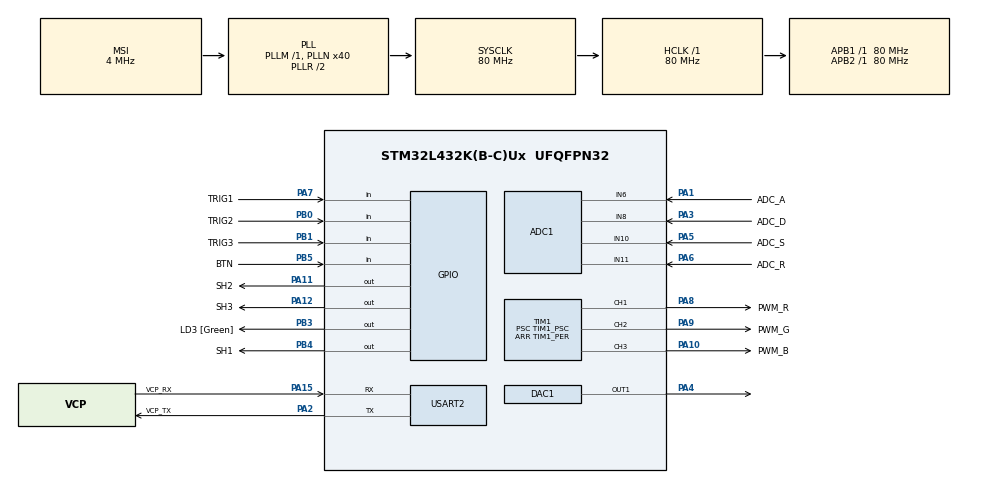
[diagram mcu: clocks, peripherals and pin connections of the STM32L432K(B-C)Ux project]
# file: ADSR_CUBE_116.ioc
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ADC1.Channel-0\#ChannelRegularConversion=ADC_CHANNEL_6
ADC1.Channel-1\#ChannelRegularConversion=ADC_CHANNEL_8
ADC1.Channel-2\#ChannelRegularConversion=ADC_CHANNEL_10
ADC1.Channel-3\#ChannelRegularConversion=ADC_CHANNEL_11
ADC1.ClockPrescaler=ADC_CLOCK_SYNC_PCLK_DIV1
ADC1.ContinuousConvMode=DISABLE
ADC1.DMAContinuousRequests=ENABLE
ADC1.EOCSelection=ADC_EOC_SEQ_CONV
ADC1.ExternalTrigConv=ADC_EXTERNALTRIG_T6_TRGO
ADC1.NbrOfConversion=4
ADC1.NbrOfConversionFlag=1
ADC1.OffsetNumber-0\#ChannelRegularConversion=ADC_OFFSET_NONE
ADC1.OffsetNumber-1\#ChannelRegularConversion=ADC_OFFSET_NONE
ADC1.OffsetNumber-2\#ChannelRegularConversion=ADC_OFFSET_NONE
ADC1.OffsetNumber-3\#ChannelRegularConversion=ADC_OFFSET_NONE
ADC1.Overrun=ADC_OVR_DATA_OVERWRITTEN
ADC1.Rank-0\#ChannelRegularConversion=1
ADC1.Rank-1\#ChannelRegularConversion=2
ADC1.Rank-2\#ChannelRegularConversion=3
ADC1.Rank-3\#ChannelRegularConversion=4
ADC1.SamplingTime-0\#ChannelRegularConversion=ADC_SAMPLETIME_6CYCLES_5
ADC1.SamplingTime-1\#ChannelRegularConversion=ADC_SAMPLETIME_6CYCLES_5
ADC1.SamplingTime-2\#ChannelRegularConversion=ADC_SAMPLETIME_6CYCLES_5
ADC1.SamplingTime-3\#ChannelRegularConversion=ADC_SAMPLETIME_6CYCLES_5
ADC1.master=1
Dma.ADC1.0.Direction=DMA_PERIPH_TO_MEMORY
Dma.ADC1.0.Instance=DMA1_Channel1
Dma.ADC1.0.MemDataAlignment=DMA_MDATAALIGN_HALFWORD
Dma.ADC1.0.MemInc=DMA_MINC_ENABLE
Dma.ADC1.0.Mode=DMA_CIRCULAR
Dma.ADC1.0.PeriphDataAlignment=DMA_PDATAALIGN_HALFWORD
Dma.ADC1.0.PeriphInc=DMA_PINC_DISABLE
Dma.ADC1.0.Priority=DMA_PRIORITY_MEDIUM
Dma.Request0=ADC1
Mcu.Family=STM32L4
Mcu.Name=STM32L432K(B-C)Ux
Mcu.Package=UFQFPN32
Mcu.UserConstants=TIM6_PSC,363;TIM6_PER,22;TIM1_PSC,4;TIM1_PER,8191;TIM7_PSC,79;SH_TIME,7
NVIC.DMA1_Channel1_IRQn=true\:0\:0\:false\:false\:true\:false\:true
NVIC.PriorityGroup=NVIC_PRIORITYGROUP_4
NVIC.TIM7_IRQn=true\:0\:0\:false\:false\:true\:true\:true
PA0.GPIO_Label=MCO [High speed clock in]
PA0.Mode=HSE-External-Clock-Source-for-LittleOrca
PA0.Signal=RCC_CK_IN
PA1.GPIO_Label=ADC_A
PA1.Signal=ADCx_IN6
PA10.GPIO_Label=PWM_B
PA10.GPIO_Speed=GPIO_SPEED_FREQ_HIGH
PA10.Signal=S_TIM1_CH3
PA11.GPIO_Label=SH2
PA11.Signal=GPIO_Output
PA12.GPIO_Label=SH3
PA12.Signal=GPIO_Output
PA13\ (JTMS-SWDIO).GPIO_Label=SWDIO
PA13\ (JTMS-SWDIO).Mode=Serial_Wire
PA13\ (JTMS-SWDIO).Signal=SYS_JTMS-SWDIO
PA14\ (JTCK-SWCLK).GPIO_Label=SWCLK
PA14\ (JTCK-SWCLK).Mode=Serial_Wire
PA14\ (JTCK-SWCLK).Signal=SYS_JTCK-SWCLK
PA15\ (JTDI).GPIO_Label=VCP_RX
PA15\ (JTDI).Mode=Asynchronous
PA15\ (JTDI).Signal=USART2_RX
PA2.GPIO_Label=VCP_TX
PA2.Mode=Asynchronous
PA2.Signal=USART2_TX
PA3.GPIO_Label=ADC_D
PA3.Signal=ADCx_IN8
PA4.Signal=COMP_DAC11_group
PA5.GPIO_Label=ADC_S
PA5.Signal=ADCx_IN10
PA6.GPIO_Label=ADC_R
PA6.Signal=ADCx_IN11
PA7.GPIO_Label=TRIG1
PA7.GPIO_PuPd=GPIO_PULLUP
PA7.Signal=GPIO_Input
PA8.GPIO_Label=PWM_R
PA8.GPIO_Speed=GPIO_SPEED_FREQ_HIGH
PA8.Signal=S_TIM1_CH1
PA9.GPIO_Label=PWM_G
PA9.GPIO_Speed=GPIO_SPEED_FREQ_HIGH
PA9.Signal=S_TIM1_CH2
PB0.GPIO_Label=TRIG2
PB0.GPIO_PuPd=GPIO_PULLUP
PB0.Signal=GPIO_Input
PB1.GPIO_Label=TRIG3
PB1.GPIO_PuPd=GPIO_PULLUP
PB1.Signal=GPIO_Input
PB3\ (JTDO-TRACESWO).GPIO_Label=LD3 [Green]
PB3\ (JTDO-TRACESWO).Signal=GPIO_Output
PB4\ (NJTRST).GPIO_Label=SH1
PB4\ (NJTRST).Signal=GPIO_Output
PB5.GPIO_Label=BTN
PB5.GPIO_PuPd=GPIO_PULLDOWN
PB5.Signal=GPIO_Input
PC14-OSC32_IN\ (PC14).Mode=LSE-External-Oscillator
PC14-OSC32_IN\ (PC14).Signal=RCC_OSC32_IN
PC15-OSC32_OUT\ (PC15).Mode=LSE-External-Oscillator
PC15-OSC32_OUT\ (PC15).Signal=RCC_OSC32_OUT
ProjectManager.HeapSize=0x200
ProjectManager.StackSize=0x400
ProjectManager.TargetToolchain=EWARM V8.32
RCC.ADCCLockSelection=RCC_ADCCLKSOURCE_SYSCLK
RCC.ADCFreq_Value=80000000
RCC.AHBFreq_Value=80000000
RCC.APB1Freq_Value=80000000
RCC.APB1TimFreq_Value=80000000
RCC.APB2Freq_Value=80000000
RCC.APB2TimFreq_Value=80000000
RCC.CortexFreq_Value=80000000
RCC.HCLKFreq_Value=80000000
RCC.HSE_VALUE=8000000
RCC.HSI16_VALUE=16000000
RCC.HSI48_VALUE=48000000
RCC.HSI_VALUE=16000000
RCC.MSI_VALUE=4000000
RCC.PLLMUL=RCC_PLLMUL_4
RCC.PLLN=40
RCC.PLLSAI1N=16
RCC.SYSCLKFreq_VALUE=80000000
RCC.SYSCLKSource=RCC_SYSCLKSOURCE_PLLCLK
RCC.USBFreq_Value=32000000
RCC.VCOOutputFreq_Value=160000000
SH.ADCx_IN10.0=ADC1_IN10,IN10-Single-Ended
SH.ADCx_IN11.0=ADC1_IN11,IN11-Single-Ended
SH.ADCx_IN6.0=ADC1_IN6,IN6-Single-Ended
SH.ADCx_IN8.0=ADC1_IN8,IN8-Single-Ended
SH.COMP_DAC11_group.0=DAC1_OUT1,DAC_OUT1
SH.S_TIM1_CH1.0=TIM1_CH1,PWM Generation1 CH1
SH.S_TIM1_CH2.0=TIM1_CH2,PWM Generation2 CH2
SH.S_TIM1_CH3.0=TIM1_CH3,PWM Generation3 CH3
TIM1.AutoReloadPreload=TIM_AUTORELOAD_PRELOAD_ENABLE
TIM1.Channel-PWM\ Generation1\ CH1=TIM_CHANNEL_1
TIM1.Channel-PWM\ Generation2\ CH2=TIM_CHANNEL_2
TIM1.Channel-PWM\ Generation3\ CH3=TIM_CHANNEL_3
TIM1.Period=TIM1_PER
TIM1.Prescaler=TIM1_PSC
TIM6.AutoReloadPreload=TIM_AUTORELOAD_PRELOAD_ENABLE
TIM6.Period=TIM6_PER
TIM6.Prescaler=TIM6_PSC
TIM6.TIM_MasterOutputTrigger=TIM_TRGO_UPDATE
TIM7.AutoReloadPreload=TIM_AUTORELOAD_PRELOAD_ENABLE
TIM7.Period=SH_TIME
TIM7.Prescaler=TIM7_PSC
TIM7.TIM_MasterOutputTrigger=TIM_TRGO_UPDATE
USART2.VirtualMode-Asynchronous=VM_ASYNC
VP_TIM6_VS_ClockSourceINT.Mode=Enable_Timer
VP_TIM7_VS_ClockSourceINT.Mode=Enable_Timer
board=NUCLEO-L432KC

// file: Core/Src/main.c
/* USER CODE BEGIN Header */
/**
  ******************************************************************************
  * @file           : main.c
  * @brief          : Main program body
  ******************************************************************************
  * @attention
  *
  * <h2><center>&copy; Copyright (c) 2021 STMicroelectronics.
  * All rights reserved.</center></h2>
  *
  * This software component is licensed by ST under BSD 3-Clause license,
  * the "License"; You may not use this file except in compliance with the
  * License. You may obtain a copy of the License at:
  *                        opensource.org/licenses/BSD-3-Clause
  *
  ******************************************************************************
  */
/* USER CODE END Header */
#include "main.h"

/* USER CODE BEGIN Includes */
#include <stdlib.h>

#include "envelope.h"
#include "btn.h"
#include "led_rgb.h"

/* USER CODE END Includes */

/* USER CODE BEGIN PD */

/* Definition of ADCx conversions data table size */
#define ADC_CONVERTED_DATA_BUFFER_SIZE   ((uint32_t)  4)   /* Size of array aADCxConvertedData[] */

/* For PWM */
#define  PULSE1_VALUE       (uint32_t)(TIM1_PER/2)
#define  PULSE2_VALUE       (uint32_t)(TIM1_PER/2)
#define  PULSE3_VALUE       (uint32_t)(TIM1_PER/2)

#define TOGGLE_COUNT   1000

#define BLINK_RATE     750

//#define SH_TIME (uint32_t)7 // give the dac 1us and the LF398 6us

#define GATE_HIGH GPIO_PIN_RESET
#define GATE_LOW  GPIO_PIN_SET

#define SEG_NO_CHANGE 0xFFFF
#define CHANGE_THRESH (ADC_FS / 8)

#define CATCH_THRESH  (ADC_FS / 64)

//#define TOGGLE ; // Debug toggle of LD3 on the nucleo
//#define SEEENVS ; // Debug make the leds flash like an envelope

/* USER CODE END PD */

ADC_HandleTypeDef hadc1;
DMA_HandleTypeDef hdma_adc1;

DAC_HandleTypeDef hdac1;

TIM_HandleTypeDef htim1;
TIM_HandleTypeDef htim6;
TIM_HandleTypeDef htim7;

UART_HandleTypeDef huart2;

/* USER CODE BEGIN PV */
/* Variable containing ADC conversions data */
static uint16_t   aADCxConvertedData[ADC_CONVERTED_DATA_BUFFER_SIZE];

static GPIO_PinState  trigger_pins[3];

//some of these could become flags for efficiency?
#ifdef TOGGLE
static uint16_t	  toggle;
#endif
static uint16_t	  tick, last_tick, btn_tick;
static uint16_t	  dac;
static uint16_t	  sh_timer;
static uint16_t	  i, j;
static uint16_t	  seg_change; // 0xFFFF means no param changed, otherwise 0 -> 3 map to ADSR
static enum curves new_seg;

static env_gen_t envelopes[NUM_ENVS];
static btn_t	 btn;
static led_rgb_t led;

/* USER CODE END PV */

void SystemClock_Config(void);
static void MX_GPIO_Init(void);
static void MX_DMA_Init(void);
static void MX_ADC1_Init(void);
static void MX_USART2_UART_Init(void);
static void MX_DAC1_Init(void);
static void MX_TIM6_Init(void);
static void MX_TIM1_Init(void);
static void MX_TIM7_Init(void);
/* USER CODE BEGIN PFP */

uint16_t catch_param(uint16_t old, uint16_t cur, uint16_t thresh);
/* USER CODE END PFP */

/* USER CODE BEGIN 0 */

uint16_t catch_param(uint16_t old, uint16_t cur, uint16_t thresh)
{
  return (abs(old - cur) < thresh) ? 1 : 0;
}

/* USER CODE END 0 */

int main(void)
{

  /* MCU Configuration--------------------------------------------------------*/

  /* Reset of all peripherals, Initializes the Flash interface and the Systick. */
  HAL_Init();

  /* Configure the system clock */
  SystemClock_Config();

  /* Initialize all configured peripherals */
  MX_GPIO_Init();
  MX_DMA_Init();
  MX_ADC1_Init();
  MX_USART2_UART_Init();
  MX_DAC1_Init();
  MX_TIM6_Init();
  MX_TIM1_Init();
  MX_TIM7_Init();
  /* USER CODE BEGIN 2 */

  if (HAL_DAC_Start(&hdac1, DAC_CHANNEL_1) != HAL_OK)
  {
    /* Start Error */
    Error_Handler();
  }

  if (HAL_ADC_Start_DMA(&hadc1,
                        (uint32_t *)aADCxConvertedData,
                        ADC_CONVERTED_DATA_BUFFER_SIZE
                       ) != HAL_OK)
  {
    /* Start Error */
    Error_Handler();
  }

  if (HAL_TIM_Base_Start(&htim6) != HAL_OK)
  {
    /* Start Error */
    Error_Handler();
  }

  /*## Start PWM signals generation #######################################*/
  /* Start channel 1 */
  if (HAL_TIM_PWM_Start(&htim1, TIM_CHANNEL_1) != HAL_OK)
  {
    /* PWM Generation Error */
    Error_Handler();
  }
  /* Start channel 2 */
  if (HAL_TIM_PWM_Start(&htim1, TIM_CHANNEL_2) != HAL_OK)
  {
    /* PWM Generation Error */
    Error_Handler();
  }
  /* Start channel 3 */
  if (HAL_TIM_PWM_Start(&htim1, TIM_CHANNEL_3) != HAL_OK)
  {
    /* PWM generation Error */
    Error_Handler();
  }

#ifdef TOGGLE
  toggle = 0;
#endif
  tick = 0;
  last_tick = 0;
  btn_tick = 1;
  dac = 0;
  sh_timer = 0;
  seg_change = SEG_NO_CHANGE;

  init_btn(&btn);
  init_led_rgb(&led, &htim1, TIM_CHANNEL_1, TIM_CHANNEL_2, TIM_CHANNEL_3);

  for (i = 0; i < NUM_ENVS; i++) {
    init_env(&envelopes[i]);
  }

  i = 0;

  /* USER CODE END 2 */

  /* Infinite loop */
  while (1)
  {

    /* USER CODE BEGIN 3 */

    if (tick != last_tick) {

#ifdef TOGGLE
      // take care of flashing the LD3 to show signs of life
      toggle++;
      if (toggle >= TOGGLE_COUNT) {
	HAL_GPIO_TogglePin(LD3_GPIO_Port, LD3_Pin);
	toggle = 0;
      }
#endif

      // Check the TRIG inputs
      trigger_pins[0] = HAL_GPIO_ReadPin(GPIOA, TRIG1_Pin);
      trigger_pins[1] = HAL_GPIO_ReadPin(GPIOB, TRIG2_Pin);
      trigger_pins[2] = HAL_GPIO_ReadPin(GPIOB, TRIG3_Pin);

      // Check the envelope pots
      // If we're doing a long press we shouldn't
      if (btn.click_state == LONG) {
	//don't do anything here - we're going to check if they're different below and
	//update segment shapes choices based on these numbers
	//Basically hold the button and move the pot of the parameter that you want to change shape
      } else {
	for (j = 0; j < 4; j++) {
	  if (seg_unlocked[j] || (seg_unlocked[j] = catch_param(envelopes[i].adsr[j], aADCxConvertedData[j], CATCH_THRESH))) {
	    envelopes[i].adsr[j] = aADCxConvertedData[j];
	  }
	}
      }

      // Process the envelopes
      process_env(&envelopes[0], (trigger_pins[0] == GATE_HIGH) ? 1 : 0, envelopes[2].end);
      process_env(&envelopes[1], (trigger_pins[1] == GATE_HIGH) ? 1 : 0, envelopes[0].end);
      process_env(&envelopes[2], (trigger_pins[2] == GATE_HIGH) ? 1 : 0, envelopes[1].end);

      // Step through the envs and set the DAC accordingly, give it 1uS to stablelize plus 6uS of Sample time
      if (HAL_DAC_SetValue(&hdac1, DAC_CHANNEL_1, DAC_ALIGN_12B_R, ENV_INV(&envelopes[0])) != HAL_OK)
      {
        /* Setting value Error */
        Error_Handler();
      }
      // Assume 6uS sampling time once DAC is stable
      HAL_GPIO_WritePin(SH1_GPIO_Port, SH1_Pin, GPIO_PIN_SET);
      __HAL_TIM_SET_AUTORELOAD(&htim7, SH_TIME);
      HAL_TIM_Base_Start_IT(&htim7);
      while (!sh_timer) {
	//spin on the timer
      }
      sh_timer = 0;
      HAL_GPIO_WritePin(SH1_GPIO_Port, SH1_Pin, GPIO_PIN_RESET);

      if (HAL_DAC_SetValue(&hdac1, DAC_CHANNEL_1, DAC_ALIGN_12B_R, ENV_INV(&envelopes[1])) != HAL_OK)
      {
        /* Setting value Error */
        Error_Handler();
      }
      HAL_GPIO_WritePin(SH2_GPIO_Port, SH2_Pin, GPIO_PIN_SET);
      __HAL_TIM_SET_AUTORELOAD(&htim7, SH_TIME);
      HAL_TIM_Base_Start_IT(&htim7);
      while (!sh_timer) {
	//spin on the timer
      }
      sh_timer = 0;
      HAL_GPIO_WritePin(SH2_GPIO_Port, SH2_Pin, GPIO_PIN_RESET);

      if (HAL_DAC_SetValue(&hdac1, DAC_CHANNEL_1, DAC_ALIGN_12B_R, ENV_INV(&envelopes[2])) != HAL_OK)
      {
        /* Setting value Error */
        Error_Handler();
      }
      HAL_GPIO_WritePin(SH3_GPIO_Port, SH3_Pin, GPIO_PIN_SET);
      __HAL_TIM_SET_AUTORELOAD(&htim7, SH_TIME);
      HAL_TIM_Base_Start_IT(&htim7);
      while (!sh_timer) {
	//spin on the timer
      }
      sh_timer = 0;
      HAL_GPIO_WritePin(SH3_GPIO_Port, SH3_Pin, GPIO_PIN_RESET);

      // Let's do the button and led every ten ticks which should give us ms resolution
      if ((btn_tick % BTN_TICK) == 0) {

	process_btn(&btn, (HAL_GPIO_ReadPin(BTN_GPIO_Port, BTN_Pin) == GPIO_PIN_SET) ? 1 : 0);

      	switch (btn.click_state) {
      	  case NONE:
	    seg_change = SEG_NO_CHANGE;
      	    break;
      	  case SINGLE:
	    //cycle through the envelopes
      	    i = (i + 1) % NUM_ENVS;
	    for (j = 0; j < 4; j++) {
	      seg_unlocked[j] = 0;
	    }
      	    break;
      	  case DOUBLE:
	    //double click toggles invert of current envelope
      	    envelopes[i].mode = (envelopes[i].mode + 1) % NUM_MODES;
      	    break;
	  case LONG:
	    //This is where I want to check the ADC channels and pick segment shapes based on each third of the range
	    //Might need to do something to stop doing continuous sampling or continuous update of the envelopes directly
	    //For now only allow adjustment of one segment per long press
	    if (seg_change == SEG_NO_CHANGE) {
	      for (j = 0; j < 4; j++) {
	        if (abs(envelopes[i].adsr[j] - aADCxConvertedData[j]) > CHANGE_THRESH) {
	          seg_change = j;
	        }
	      }
	      led.blink = 0xFF;
	      led.blink_duty = 0x00;
	    } else {

	      if (aADCxConvertedData[seg_change] < BTM_THRD) {
		new_seg = LIN;
	      } else if (aADCxConvertedData[seg_change] < MID_THRD) {
		new_seg = EXP;
	      } else {
		new_seg = LOG;
	      }

	      switch (seg_change) {
		case ATTACK:
		  envelopes[i].acurve = new_seg;
		  break;
		case DECAY:
		  envelopes[i].dcurve = new_seg;
		  break;
		case SUSTAIN:
		  //easter eggs
		  if (new_seg == LOG) {
		    envelopes[i].mode = BOUNCY;
		  } else {
		    envelopes[i].mode = ONESHOT;
		  }
		  break;
		case RELEASE:
		  envelopes[i].rcurve = new_seg;
		  break;
		default:
		  break;
	      }
	      led.blink = 0xFF;
	      led.blink_duty = 0xFF;
	    }
	    break;

      	  default:
      	    break;
      	}

	switch ((btn.click_state == LONG) ? new_seg : i) {
      	  case 0:
      	    led.r = ADC_FS;
      	    led.g = 0;
      	    led.b = TRIG_MODE(&envelopes[i]) ? ADC_FS : 0;
      	    break;
      	  case 1:
      	    led.r = TRIG_MODE(&envelopes[i]) ? ADC_FS : 0;
      	    led.g = ADC_FS;
      	    led.b = 0;
      	    break;
      	  case 2:
      	    led.r = 0;
      	    led.g = TRIG_MODE(&envelopes[i]) ? ADC_FS : 0;
      	    led.b = ADC_FS;
      	    break;
      	  default:
      	    led.r = ADC_FS;
      	    led.g = ADC_FS;
      	    led.b = ADC_FS;
      	}

	if (btn.click_state != LONG) {
	  switch (envelopes[i].mode) {
	    case ONESHOT:
	      led.blink = 0xFF;
	      led.blink_duty = 0xFF;
	      break;
	    case INV_ONESHOT:
	      led.blink = BLINK_RATE;
      	      led.blink_duty = 0.5 * led.blink;
	      break;
	    case TRIG:
	      led.blink = 0xFF;
	      led.blink_duty = 0xFF;
	      break;
	    case INV_TRIG:
	      led.blink = BLINK_RATE;
      	      led.blink_duty = 0.5 * led.blink;
	      break;
	    case LOOP:
	      led.blink = BLINK_RATE;
      	      led.blink_duty = 0.75 * led.blink;
	      break;
	    case INV_LOOP:
	      led.blink = BLINK_RATE;
      	      led.blink_duty = 0.25 * led.blink;
	      break;
	    case BOUNCY:
	      led.blink = 0xFF;
	      led.blink_duty = 0xFF;
	      led.r = envelopes[i].val;
      	      led.g = envelopes[i].val;
      	      led.b = envelopes[i].val;
	      break;
      	  }
	}

#ifdef SEEENVS
	/*
      	 * Testing - visualize the envs
      	 */
	if (GATE(&envelopes[0], (trigger_pins[0] == GATE_HIGH) ? 1 : 0) || \
	    GATE(&envelopes[1], (trigger_pins[1] == GATE_HIGH) ? 1 : 0) || \
	    GATE(&envelopes[2], (trigger_pins[2] == GATE_HIGH) ? 1 : 0)) {
	  led.r = ENV_INV(&envelopes[0]);
      	  led.g = ENV_INV(&envelopes[1]);
      	  led.b = ENV_INV(&envelopes[2]);
	}
#endif

      	process_led(&led);

	btn_tick = 1;
      } else {
	btn_tick++;
      }

      tick++;
      last_tick = tick;
    }
  }
  /* USER CODE END 3 */
}

void SystemClock_Config(void)
{
  RCC_OscInitTypeDef RCC_OscInitStruct = {0};
  RCC_ClkInitTypeDef RCC_ClkInitStruct = {0};
  RCC_PeriphCLKInitTypeDef PeriphClkInit = {0};

  /** Configure LSE Drive Capability
  */
  HAL_PWR_EnableBkUpAccess();
  __HAL_RCC_LSEDRIVE_CONFIG(RCC_LSEDRIVE_LOW);
  /** Initializes the RCC Oscillators according to the specified parameters
  * in the RCC_OscInitTypeDef structure.
  */
  RCC_OscInitStruct.OscillatorType = RCC_OSCILLATORTYPE_LSE|RCC_OSCILLATORTYPE_MSI;
  RCC_OscInitStruct.LSEState = RCC_LSE_ON;
  RCC_OscInitStruct.MSIState = RCC_MSI_ON;
  RCC_OscInitStruct.MSICalibrationValue = 0;
  RCC_OscInitStruct.MSIClockRange = RCC_MSIRANGE_6;
  RCC_OscInitStruct.PLL.PLLState = RCC_PLL_ON;
  RCC_OscInitStruct.PLL.PLLSource = RCC_PLLSOURCE_MSI;
  RCC_OscInitStruct.PLL.PLLM = 1;
  RCC_OscInitStruct.PLL.PLLN = 40;
  RCC_OscInitStruct.PLL.PLLP = RCC_PLLP_DIV7;
  RCC_OscInitStruct.PLL.PLLQ = RCC_PLLQ_DIV2;
  RCC_OscInitStruct.PLL.PLLR = RCC_PLLR_DIV2;
  if (HAL_RCC_OscConfig(&RCC_OscInitStruct) != HAL_OK)
  {
    Error_Handler();
  }
  /** Initializes the CPU, AHB and APB buses clocks
  */
  RCC_ClkInitStruct.ClockType = RCC_CLOCKTYPE_HCLK|RCC_CLOCKTYPE_SYSCLK
                              |RCC_CLOCKTYPE_PCLK1|RCC_CLOCKTYPE_PCLK2;
  RCC_ClkInitStruct.SYSCLKSource = RCC_SYSCLKSOURCE_PLLCLK;
  RCC_ClkInitStruct.AHBCLKDivider = RCC_SYSCLK_DIV1;
  RCC_ClkInitStruct.APB1CLKDivider = RCC_HCLK_DIV1;
  RCC_ClkInitStruct.APB2CLKDivider = RCC_HCLK_DIV1;

  if (HAL_RCC_ClockConfig(&RCC_ClkInitStruct, FLASH_LATENCY_4) != HAL_OK)
  {
    Error_Handler();
  }
  PeriphClkInit.PeriphClockSelection = RCC_PERIPHCLK_USART2|RCC_PERIPHCLK_ADC;
  PeriphClkInit.Usart2ClockSelection = RCC_USART2CLKSOURCE_PCLK1;
  PeriphClkInit.AdcClockSelection = RCC_ADCCLKSOURCE_SYSCLK;
  if (HAL_RCCEx_PeriphCLKConfig(&PeriphClkInit) != HAL_OK)
  {
    Error_Handler();
  }
  /** Configure the main internal regulator output voltage
  */
  if (HAL_PWREx_ControlVoltageScaling(PWR_REGULATOR_VOLTAGE_SCALE1) != HAL_OK)
  {
    Error_Handler();
  }
  /** Enable MSI Auto calibration
  */
  HAL_RCCEx_EnableMSIPLLMode();
}

static void MX_ADC1_Init(void)
{

  ADC_ChannelConfTypeDef sConfig = {0};

  /** Common config
  */
  hadc1.Instance = ADC1;
  hadc1.Init.ClockPrescaler = ADC_CLOCK_SYNC_PCLK_DIV1;
  hadc1.Init.Resolution = ADC_RESOLUTION_12B;
  hadc1.Init.DataAlign = ADC_DATAALIGN_RIGHT;
  hadc1.Init.ScanConvMode = ADC_SCAN_ENABLE;
  hadc1.Init.EOCSelection = ADC_EOC_SEQ_CONV;
  hadc1.Init.LowPowerAutoWait = DISABLE;
  hadc1.Init.ContinuousConvMode = DISABLE;
  hadc1.Init.NbrOfConversion = 4;
  hadc1.Init.DiscontinuousConvMode = DISABLE;
  hadc1.Init.ExternalTrigConv = ADC_EXTERNALTRIG_T6_TRGO;
  hadc1.Init.ExternalTrigConvEdge = ADC_EXTERNALTRIGCONVEDGE_RISING;
  hadc1.Init.DMAContinuousRequests = ENABLE;
  hadc1.Init.Overrun = ADC_OVR_DATA_OVERWRITTEN;
  hadc1.Init.OversamplingMode = DISABLE;
  if (HAL_ADC_Init(&hadc1) != HAL_OK)
  {
    Error_Handler();
  }
  /** Configure Regular Channel
  */
  sConfig.Channel = ADC_CHANNEL_6;
  sConfig.Rank = ADC_REGULAR_RANK_1;
  sConfig.SamplingTime = ADC_SAMPLETIME_6CYCLES_5;
  sConfig.SingleDiff = ADC_SINGLE_ENDED;
  sConfig.OffsetNumber = ADC_OFFSET_NONE;
  sConfig.Offset = 0;
  if (HAL_ADC_ConfigChannel(&hadc1, &sConfig) != HAL_OK)
  {
    Error_Handler();
  }
  /** Configure Regular Channel
  */
  sConfig.Channel = ADC_CHANNEL_8;
  sConfig.Rank = ADC_REGULAR_RANK_2;
  if (HAL_ADC_ConfigChannel(&hadc1, &sConfig) != HAL_OK)
  {
    Error_Handler();
  }
  /** Configure Regular Channel
  */
  sConfig.Channel = ADC_CHANNEL_10;
  sConfig.Rank = ADC_REGULAR_RANK_3;
  if (HAL_ADC_ConfigChannel(&hadc1, &sConfig) != HAL_OK)
  {
    Error_Handler();
  }
  /** Configure Regular Channel
  */
  sConfig.Channel = ADC_CHANNEL_11;
  sConfig.Rank = ADC_REGULAR_RANK_4;
  if (HAL_ADC_ConfigChannel(&hadc1, &sConfig) != HAL_OK)
  {
    Error_Handler();
  }
  /* USER CODE BEGIN ADC1_Init 2 */

  if (HAL_ADCEx_Calibration_Start(&hadc1, ADC_SINGLE_ENDED) !=  HAL_OK)
  {
    Error_Handler();
  }

  /* USER CODE END ADC1_Init 2 */

}

static void MX_DAC1_Init(void)
{

  DAC_ChannelConfTypeDef sConfig = {0};

  /** DAC Initialization
  */
  hdac1.Instance = DAC1;
  if (HAL_DAC_Init(&hdac1) != HAL_OK)
  {
    Error_Handler();
  }
  /** DAC channel OUT1 config
  */
  sConfig.DAC_SampleAndHold = DAC_SAMPLEANDHOLD_DISABLE;
  sConfig.DAC_Trigger = DAC_TRIGGER_NONE;
  sConfig.DAC_OutputBuffer = DAC_OUTPUTBUFFER_ENABLE;
  sConfig.DAC_ConnectOnChipPeripheral = DAC_CHIPCONNECT_DISABLE;
  sConfig.DAC_UserTrimming = DAC_TRIMMING_FACTORY;
  if (HAL_DAC_ConfigChannel(&hdac1, &sConfig, DAC_CHANNEL_1) != HAL_OK)
  {
    Error_Handler();
  }

}

static void MX_TIM1_Init(void)
{

  TIM_MasterConfigTypeDef sMasterConfig = {0};
  TIM_OC_InitTypeDef sConfigOC = {0};
  TIM_BreakDeadTimeConfigTypeDef sBreakDeadTimeConfig = {0};

  htim1.Instance = TIM1;
  htim1.Init.Prescaler = TIM1_PSC;
  htim1.Init.CounterMode = TIM_COUNTERMODE_UP;
  htim1.Init.Period = TIM1_PER;
  htim1.Init.ClockDivision = TIM_CLOCKDIVISION_DIV1;
  htim1.Init.RepetitionCounter = 0;
  htim1.Init.AutoReloadPreload = TIM_AUTORELOAD_PRELOAD_ENABLE;
  if (HAL_TIM_PWM_Init(&htim1) != HAL_OK)
  {
    Error_Handler();
  }
  sMasterConfig.MasterOutputTrigger = TIM_TRGO_RESET;
  sMasterConfig.MasterOutputTrigger2 = TIM_TRGO2_RESET;
  sMasterConfig.MasterSlaveMode = TIM_MASTERSLAVEMODE_DISABLE;
  if (HAL_TIMEx_MasterConfigSynchronization(&htim1, &sMasterConfig) != HAL_OK)
  {
    Error_Handler();
  }
  sConfigOC.OCMode = TIM_OCMODE_PWM1;
  sConfigOC.Pulse = 0;
  sConfigOC.OCPolarity = TIM_OCPOLARITY_HIGH;
  sConfigOC.OCNPolarity = TIM_OCNPOLARITY_HIGH;
  sConfigOC.OCFastMode = TIM_OCFAST_DISABLE;
  sConfigOC.OCIdleState = TIM_OCIDLESTATE_RESET;
  sConfigOC.OCNIdleState = TIM_OCNIDLESTATE_RESET;
  if (HAL_TIM_PWM_ConfigChannel(&htim1, &sConfigOC, TIM_CHANNEL_1) != HAL_OK)
  {
    Error_Handler();
  }
  if (HAL_TIM_PWM_ConfigChannel(&htim1, &sConfigOC, TIM_CHANNEL_2) != HAL_OK)
  {
    Error_Handler();
  }
  if (HAL_TIM_PWM_ConfigChannel(&htim1, &sConfigOC, TIM_CHANNEL_3) != HAL_OK)
  {
    Error_Handler();
  }
  sBreakDeadTimeConfig.OffStateRunMode = TIM_OSSR_DISABLE;
  sBreakDeadTimeConfig.OffStateIDLEMode = TIM_OSSI_DISABLE;
  sBreakDeadTimeConfig.LockLevel = TIM_LOCKLEVEL_OFF;
  sBreakDeadTimeConfig.DeadTime = 0;
  sBreakDeadTimeConfig.BreakState = TIM_BREAK_DISABLE;
  sBreakDeadTimeConfig.BreakPolarity = TIM_BREAKPOLARITY_HIGH;
  sBreakDeadTimeConfig.BreakFilter = 0;
  sBreakDeadTimeConfig.Break2State = TIM_BREAK2_DISABLE;
  sBreakDeadTimeConfig.Break2Polarity = TIM_BREAK2POLARITY_HIGH;
  sBreakDeadTimeConfig.Break2Filter = 0;
  sBreakDeadTimeConfig.AutomaticOutput = TIM_AUTOMATICOUTPUT_DISABLE;
  if (HAL_TIMEx_ConfigBreakDeadTime(&htim1, &sBreakDeadTimeConfig) != HAL_OK)
  {
    Error_Handler();
  }
  HAL_TIM_MspPostInit(&htim1);

}

static void MX_TIM6_Init(void)
{

  /* USER CODE BEGIN TIM6_Init 0 */

   /* TIM6 is clocked by APB1 Timer clocks, currently configured at 80MHz
    * With the Prescaler set to 363 the counter clock should be running at something like 220.385k
    * Divide that by 22 and we're around 10kHz for the triggers
    * See TIM6_PSC and TIM6_PER in main.h
    */

  /* USER CODE END TIM6_Init 0 */

  TIM_MasterConfigTypeDef sMasterConfig = {0};

  htim6.Instance = TIM6;
  htim6.Init.Prescaler = TIM6_PSC;
  htim6.Init.CounterMode = TIM_COUNTERMODE_UP;
  htim6.Init.Period = TIM6_PER;
  htim6.Init.AutoReloadPreload = TIM_AUTORELOAD_PRELOAD_ENABLE;
  if (HAL_TIM_Base_Init(&htim6) != HAL_OK)
  {
    Error_Handler();
  }
  sMasterConfig.MasterOutputTrigger = TIM_TRGO_UPDATE;
  sMasterConfig.MasterSlaveMode = TIM_MASTERSLAVEMODE_DISABLE;
  if (HAL_TIMEx_MasterConfigSynchronization(&htim6, &sMasterConfig) != HAL_OK)
  {
    Error_Handler();
  }

}

static void MX_TIM7_Init(void)
{

  TIM_MasterConfigTypeDef sMasterConfig = {0};

  /* USER CODE BEGIN TIM7_Init 1 */

  // This should be a time base with a period of 1uS - for driving the Sample and Hold signals

  /* USER CODE END TIM7_Init 1 */
  htim7.Instance = TIM7;
  htim7.Init.Prescaler = TIM7_PSC;
  htim7.Init.CounterMode = TIM_COUNTERMODE_UP;
  htim7.Init.Period = SH_TIME;
  htim7.Init.AutoReloadPreload = TIM_AUTORELOAD_PRELOAD_ENABLE;
  if (HAL_TIM_Base_Init(&htim7) != HAL_OK)
  {
    Error_Handler();
  }
  sMasterConfig.MasterOutputTrigger = TIM_TRGO_UPDATE;
  sMasterConfig.MasterSlaveMode = TIM_MASTERSLAVEMODE_DISABLE;
  if (HAL_TIMEx_MasterConfigSynchronization(&htim7, &sMasterConfig) != HAL_OK)
  {
    Error_Handler();
  }

}

static void MX_USART2_UART_Init(void)
{

  huart2.Instance = USART2;
  huart2.Init.BaudRate = 115200;
  huart2.Init.WordLength = UART_WORDLENGTH_8B;
  huart2.Init.StopBits = UART_STOPBITS_1;
  huart2.Init.Parity = UART_PARITY_NONE;
  huart2.Init.Mode = UART_MODE_TX_RX;
  huart2.Init.HwFlowCtl = UART_HWCONTROL_NONE;
  huart2.Init.OverSampling = UART_OVERSAMPLING_16;
  huart2.Init.OneBitSampling = UART_ONE_BIT_SAMPLE_DISABLE;
  huart2.AdvancedInit.AdvFeatureInit = UART_ADVFEATURE_NO_INIT;
  if (HAL_UART_Init(&huart2) != HAL_OK)
  {
    Error_Handler();
  }

}

static void MX_DMA_Init(void)
{

  /* DMA controller clock enable */
  __HAL_RCC_DMA1_CLK_ENABLE();

  /* DMA interrupt init */
  /* DMA1_Channel1_IRQn interrupt configuration */
  HAL_NVIC_SetPriority(DMA1_Channel1_IRQn, 0, 0);
  HAL_NVIC_EnableIRQ(DMA1_Channel1_IRQn);

}

static void MX_GPIO_Init(void)
{
  GPIO_InitTypeDef GPIO_InitStruct = {0};

  /* GPIO Ports Clock Enable */
  __HAL_RCC_GPIOC_CLK_ENABLE();
  __HAL_RCC_GPIOA_CLK_ENABLE();
  __HAL_RCC_GPIOB_CLK_ENABLE();

  /*Configure GPIO pin Output Level */
  HAL_GPIO_WritePin(GPIOA, SH2_Pin|SH3_Pin, GPIO_PIN_RESET);

  /*Configure GPIO pin Output Level */
  HAL_GPIO_WritePin(GPIOB, LD3_Pin|SH1_Pin, GPIO_PIN_RESET);

  /*Configure GPIO pin : TRIG1_Pin */
  GPIO_InitStruct.Pin = TRIG1_Pin;
  GPIO_InitStruct.Mode = GPIO_MODE_INPUT;
  GPIO_InitStruct.Pull = GPIO_PULLUP;
  HAL_GPIO_Init(TRIG1_GPIO_Port, &GPIO_InitStruct);

  /*Configure GPIO pins : TRIG2_Pin TRIG3_Pin */
  GPIO_InitStruct.Pin = TRIG2_Pin|TRIG3_Pin;
  GPIO_InitStruct.Mode = GPIO_MODE_INPUT;
  GPIO_InitStruct.Pull = GPIO_PULLUP;
  HAL_GPIO_Init(GPIOB, &GPIO_InitStruct);

  /*Configure GPIO pins : SH2_Pin SH3_Pin */
  GPIO_InitStruct.Pin = SH2_Pin|SH3_Pin;
  GPIO_InitStruct.Mode = GPIO_MODE_OUTPUT_PP;
  GPIO_InitStruct.Pull = GPIO_NOPULL;
  GPIO_InitStruct.Speed = GPIO_SPEED_FREQ_LOW;
  HAL_GPIO_Init(GPIOA, &GPIO_InitStruct);

  /*Configure GPIO pins : LD3_Pin SH1_Pin */
  GPIO_InitStruct.Pin = LD3_Pin|SH1_Pin;
  GPIO_InitStruct.Mode = GPIO_MODE_OUTPUT_PP;
  GPIO_InitStruct.Pull = GPIO_NOPULL;
  GPIO_InitStruct.Speed = GPIO_SPEED_FREQ_LOW;
  HAL_GPIO_Init(GPIOB, &GPIO_InitStruct);

  /*Configure GPIO pin : BTN_Pin */
  GPIO_InitStruct.Pin = BTN_Pin;
  GPIO_InitStruct.Mode = GPIO_MODE_INPUT;
  GPIO_InitStruct.Pull = GPIO_PULLDOWN;
  HAL_GPIO_Init(BTN_GPIO_Port, &GPIO_InitStruct);

}

/* USER CODE BEGIN 4 */
void HAL_ADC_ConvCpltCallback(ADC_HandleTypeDef* hadc)
{
  if (__HAL_ADC_GET_FLAG(hadc, ADC_FLAG_EOS)) {
    tick = 1;
  }
}

/**
  * @brief  Period elapsed callback in non blocking mode
  * @param  htim : TIM handle
  * @retval None
  */
void HAL_TIM_PeriodElapsedCallback(TIM_HandleTypeDef *htim)
{
  if (htim->Instance == TIM7) {
    HAL_TIM_Base_Stop_IT(htim);
    sh_timer++;
  }
}

/* USER CODE END 4 */

void Error_Handler(void)
{
  /* USER CODE BEGIN Error_Handler_Debug */
  /* User can add his own implementation to report the HAL error return state */
  __disable_irq();
  HAL_GPIO_WritePin(LD3_GPIO_Port, LD3_Pin, GPIO_PIN_SET);
  while (1)
  {
  }
  /* USER CODE END Error_Handler_Debug */
}

/************************ (C) COPYRIGHT STMicroelectronics *****END OF FILE****/
